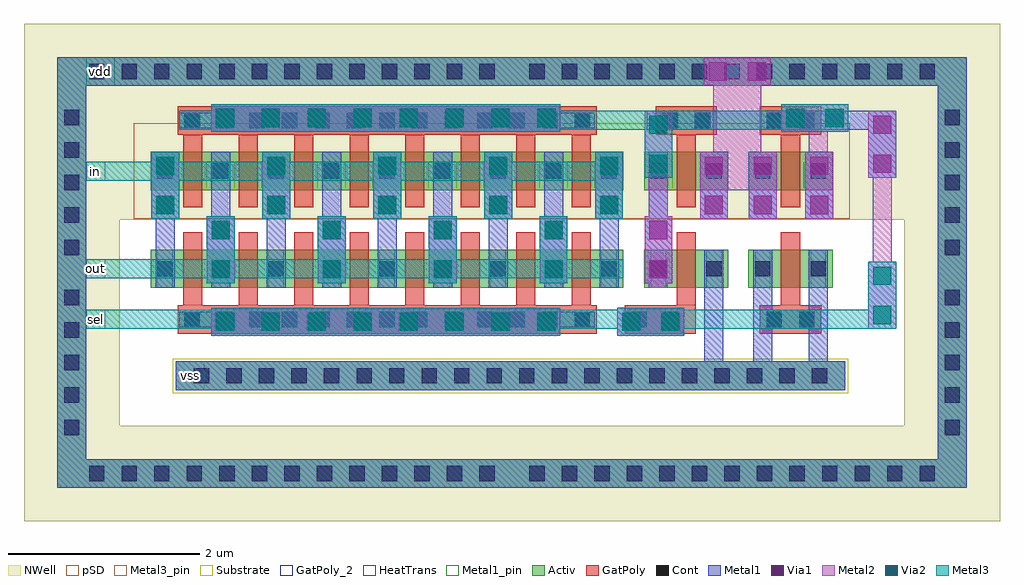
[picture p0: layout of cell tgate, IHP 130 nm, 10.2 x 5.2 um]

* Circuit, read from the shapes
.subckt tgate in out sel vdd vss
XM1 out sel in vss sg13_lv_nmos w=0.4u l=0.2u m=8
XM2 vss sel n1 vss sg13_lv_nmos w=0.4u l=0.2u
XM3 vss vss vss vss sg13_lv_nmos w=0.4u l=0.2u
XM4 out n1 in vdd sg13_lv_pmos w=0.4u l=0.2u m=8
XM5 vdd sel n1 vdd sg13_lv_pmos w=0.4u l=0.2u m=2
.ends

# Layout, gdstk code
from math import pi, radians
import gdstk
lib = gdstk.Library(unit=1e-6, precision=1e-09)
def R(c, l, rs):  # rectangles x0, y0, x1, y1
    for r in rs: c.add(gdstk.rectangle(r[:2], r[2:], *l))
def A(c, l, x, y, w, h, nx, ny, dx, dy):  # array of equal rectangles
    R(c, l, [(x+i*dx, y+j*dy, x+i*dx+w, y+j*dy+h) for i in range(nx) for j in range(ny)])
def P(c, l, *ps):  # polygons
    for p in ps: c.add(gdstk.Polygon(p, *l))
Activ = (1, 0)
GatPoly = (5, 0)
GatPoly_2 = (5, 2)
Cont = (6, 0)
Metal1 = (8, 0)
Metal1_pin = (8, 2)
Metal2 = (10, 0)
pSD = (14, 0)
Via1 = (19, 0)
Via2 = (29, 0)
Metal3 = (30, 0)
Metal3_pin = (30, 2)
NWell = (31, 0)
Substrate = (40, 0)
HeatTrans = (51, 0)

nmos = lib.new_cell('nmos')
R(nmos, Activ, [(0,0,0.3,0.3), (0,0,0.88,0.4), (0.58,0,0.88,0.3)])
R(nmos, GatPoly, [(0.34,-0.18,0.54,0.58)])
R(nmos, GatPoly_2, [(0.34,-0.18,0.54,0.58)])
R(nmos, Cont, [(0.07,0.12,0.23,0.28), (0.65,0.12,0.81,0.28)])
R(nmos, Metal1, [(0.07,0,0.23,0.4), (0.65,0,0.81,0.4)])
R(nmos, Metal1_pin, [(0.07,0,0.23,0.4), (0.65,0,0.81,0.4)])
R(nmos, HeatTrans, [(0.34,-0.18,0.54,0.58)])
nmos.add(gdstk.Label('nmos', (0.44,0.2), layer=63, texttype=0))
nmos.add(gdstk.Label('nmos', (0.44,0.2), layer=51, texttype=0))

pmos = lib.new_cell('pmos')
R(pmos, Activ, [(0,0,0.3,0.3), (0,0,0.88,0.4), (0.58,0,0.88,0.3)])
R(pmos, GatPoly, [(0.34,-0.18,0.54,0.58), (0.34,-0.18,0.54,0.58)])
R(pmos, Cont, [(0.07,0.12,0.23,0.28), (0.65,0.12,0.81,0.28)])
R(pmos, Metal1, [(0.07,0,0.23,0.4), (0.07,0,0.23,0.4), (0.65,0,0.81,0.4), (0.65,0,0.81,0.4)])
R(pmos, pSD, [(-0.18,-0.3,1.06,0.7)])
R(pmos, NWell, [(-0.31,-0.31,1.19,0.71)])
R(pmos, Substrate, [(0.58,0,0.88,0.3)])
R(pmos, HeatTrans, [(0.34,-0.18,0.54,0.58)])
pmos.add(gdstk.Label('pmos', (0.44,0.2), layer=63, texttype=0))
pmos.add(gdstk.Label('pmos', (0.44,0.2), layer=51, texttype=0))

viagpcont_m1 = lib.new_cell('ViaGPCont_M1')
R(viagpcont_m1, GatPoly, [(-2.19,-0.15,2.19,0.15)])
A(viagpcont_m1, Cont, -2.12, -0.08, 0.16, 0.16, 13, 1, 0.34, 0)
R(viagpcont_m1, Metal1, [(-2.17,-0.08,2.17,0.08)])

viagpcont_m1_2 = lib.new_cell('ViaGPCont_M1$2')
R(viagpcont_m1_2, GatPoly, [(-0.32,-0.15,0.32,0.15)])
R(viagpcont_m1_2, Cont, [(-0.25,-0.08,-0.09,0.08), (0.09,-0.08,0.25,0.08)])
R(viagpcont_m1_2, Metal1, [(-0.3,-0.08,0.3,0.08)])

via_stack = lib.new_cell('via_stack')
R(via_stack, Metal1, [(-0.145,-0.35,0.145,0.35)])
R(via_stack, Metal2, [(-0.145,-0.35,0.145,0.35)])
R(via_stack, Via1, [(-0.095,-0.3,0.095,-0.11), (-0.095,0.11,0.095,0.3)])
R(via_stack, Via2, [(-0.095,-0.3,0.095,-0.11), (-0.095,0.11,0.095,0.3)])
R(via_stack, Metal3, [(-0.145,-0.35,0.145,0.35)])

via_stack_1 = lib.new_cell('via_stack$1')
R(via_stack_1, Metal1, [(-0.145,-1.825,0.145,1.825)])
R(via_stack_1, Metal2, [(-0.145,-1.825,0.145,1.825)])
A(via_stack_1, Via1, -0.095, -1.775, 0.19, 0.19, 1, 8, 0, 0.48)
A(via_stack_1, Via2, -0.095, -1.775, 0.19, 0.19, 1, 8, 0, 0.48)
R(via_stack_1, Metal3, [(-0.145,-1.825,0.145,1.825)])

via_stack_2 = lib.new_cell('via_stack$2')
R(via_stack_2, Metal1, [(-0.145,-0.35,0.145,0.35)])
R(via_stack_2, Metal2, [(-0.145,-0.35,0.145,0.35)])
R(via_stack_2, Via1, [(-0.095,-0.3,0.095,-0.11), (-0.095,0.11,0.095,0.3)])

via_stack_3 = lib.new_cell('via_stack$3')
R(via_stack_3, Metal2, [(-0.145,-0.35,0.145,0.35)])
R(via_stack_3, Via2, [(-0.095,-0.3,0.095,-0.11), (-0.095,0.11,0.095,0.3)])
R(via_stack_3, Metal3, [(-0.145,-0.35,0.145,0.35)])

via_stack_4 = lib.new_cell('via_stack$4')
R(via_stack_4, Metal2, [(-0.35,-0.145,0.35,0.145)])
R(via_stack_4, Via2, [(-0.3,-0.095,-0.11,0.095), (0.11,-0.095,0.3,0.095)])
R(via_stack_4, Metal3, [(-0.35,-0.145,0.35,0.145)])

via_stack_7 = lib.new_cell('via_stack$7')
R(via_stack_7, Metal1, [(-0.35,-0.145,0.35,0.145)])
R(via_stack_7, Metal2, [(-0.35,-0.145,0.35,0.145)])
R(via_stack_7, Via1, [(-0.3,-0.095,-0.11,0.095), (0.11,-0.095,0.3,0.095)])
R(via_stack_7, Via2, [(-0.3,-0.095,-0.11,0.095), (0.11,-0.095,0.3,0.095)])
R(via_stack_7, Metal3, [(-0.35,-0.145,0.35,0.145)])

ptap = lib.new_cell('PTap')
R(ptap, Activ, [(-3.5,-0.15,3.5,0.15)])
A(ptap, Cont, -3.31, -0.08, 0.16, 0.16, 20, 1, 0.34, 0)
R(ptap, Metal1, [(-3.5,-0.15,3.5,0.15)])
R(ptap, pSD, [(-3.53,-0.18,3.53,0.18)])
R(ptap, Substrate, [(-3.53,-0.18,3.53,0.18)])

via_stack_6 = lib.new_cell('via_stack$6')
R(via_stack_6, Metal1, [(-0.35,-0.145,0.35,0.145)])
R(via_stack_6, Metal2, [(-0.35,-0.145,0.35,0.145)])
R(via_stack_6, Via1, [(-0.3,-0.095,-0.11,0.095), (0.11,-0.095,0.3,0.095)])

guardring_wonwellpsub = lib.new_cell('Guardring_wonwellpsub')
P(guardring_wonwellpsub, Activ, [(-4.75,-2.25),(-4.75,1.95),(-4.45,1.95),(-4.45,-1.95),(4.45,-1.95),(4.45,1.95),(-4.75,1.95),(-4.75,2.25),(4.75,2.25),(4.75,-2.25)])
A(guardring_wonwellpsub, Cont, -4.42, -2.18, 0.16, 0.16, 13, 2, 0.34, 4.2)
A(guardring_wonwellpsub, Cont, 0.18, -2.18, 0.16, 0.16, 13, 2, 0.34, 4.2)
A(guardring_wonwellpsub, Cont, -4.68, -1.7, 0.16, 0.16, 1, 5, 0, 0.34)
A(guardring_wonwellpsub, Cont, 4.52, -1.7, 0.16, 0.16, 1, 5, 0, 0.34)
A(guardring_wonwellpsub, Cont, -4.68, 0.18, 0.16, 0.16, 1, 5, 0, 0.34)
A(guardring_wonwellpsub, Cont, 4.52, 0.18, 0.16, 0.16, 1, 5, 0, 0.34)
P(guardring_wonwellpsub, Metal1, [(-4.75,-2.25),(-4.75,1.95),(-4.45,1.95),(-4.45,-1.95),(4.45,-1.95),(4.45,1.95),(-4.75,1.95),(-4.75,2.25),(4.75,2.25),(4.75,-2.25)])

tgate = lib.new_cell('tgate')
R(tgate, GatPoly, [(6.67,1.96,6.77,2.26)])
R(tgate, Metal1_pin, [(1.335,1.37,1.635,1.67), (0.4,4.55,0.7,4.85)])
R(tgate, Metal3_pin, [(0.4,2.01,0.6,2.21), (0.4,2.54,0.6,2.74), (0.4,3.56,0.6,3.76)])
R(tgate, NWell, [(-0.25,0,0.75,3.15), (0.75,0,8.95,1), (8.95,0,9.95,3.15), (-0.25,3.15,9.95,5.2)])
tgate.add(gdstk.FlexPath([(1.225,3.86),(1.225,2.44)], 0.2, ends="flush", simple_path=True, layer=8, datatype=0))  # Metal1
tgate.add(gdstk.FlexPath([(1.805,3.86),(1.805,2.44)], 0.2, ends="flush", simple_path=True, layer=8, datatype=0))  # Metal1
tgate.add(gdstk.FlexPath([(2.385,3.86),(2.385,2.44)], 0.2, ends="flush", simple_path=True, layer=8, datatype=0))  # Metal1
tgate.add(gdstk.FlexPath([(2.965,3.86),(2.965,2.44)], 0.2, ends="flush", simple_path=True, layer=8, datatype=0))  # Metal1
tgate.add(gdstk.FlexPath([(3.545,3.86),(3.545,2.44)], 0.2, ends="flush", simple_path=True, layer=8, datatype=0))  # Metal1
tgate.add(gdstk.FlexPath([(4.125,3.86),(4.125,2.44)], 0.2, ends="flush", simple_path=True, layer=8, datatype=0))  # Metal1
tgate.add(gdstk.FlexPath([(4.705,3.86),(4.705,2.44)], 0.2, ends="flush", simple_path=True, layer=8, datatype=0))  # Metal1
tgate.add(gdstk.FlexPath([(5.285,3.86),(5.285,2.44)], 0.2, ends="flush", simple_path=True, layer=8, datatype=0))  # Metal1
tgate.add(gdstk.FlexPath([(5.865,3.86),(5.865,2.44)], 0.2, ends="flush", simple_path=True, layer=8, datatype=0))  # Metal1
tgate.add(gdstk.FlexPath([(6.38,3.86),(6.38,2.44)], 0.2, ends="flush", simple_path=True, layer=8, datatype=0))  # Metal1
tgate.add(gdstk.FlexPath([(8.05,2.84),(8.05,1.37)], 0.2, ends="flush", simple_path=True, layer=8, datatype=0))  # Metal1
tgate.add(gdstk.FlexPath([(6.26,4.19),(8.82,4.19)], 0.2, ends="flush", simple_path=True, layer=8, datatype=0))  # Metal1
tgate.add(gdstk.FlexPath([(7.47,2.84),(7.47,1.37)], 0.2, ends="flush", simple_path=True, layer=8, datatype=0))  # Metal1
tgate.add(gdstk.FlexPath([(7.76,2.11),(8.135,2.11)], 0.2, ends="flush", simple_path=True, layer=8, datatype=0))  # Metal1
tgate.add(gdstk.FlexPath([(7.76,2.11),(7.37,2.11)], 0.2, ends="flush", simple_path=True, layer=8, datatype=0))  # Metal1
tgate.add(gdstk.FlexPath([(6.96,2.84),(6.96,1.37)], 0.2, ends="flush", simple_path=True, layer=8, datatype=0))  # Metal1
tgate.add(gdstk.FlexPath([(8.72,2.01),(8.72,4.29)], 0.2, ends="flush", simple_path=True, layer=10, datatype=0))  # Metal2
tgate.add(gdstk.FlexPath([(7.205,3.46),(7.205,4.845)], 0.5, ends="flush", simple_path=True, layer=10, datatype=0))  # Metal2
tgate.add(gdstk.FlexPath([(6.38,2.44),(6.38,4.29)], 0.2, ends="flush", simple_path=True, layer=10, datatype=0))  # Metal2
tgate.add(gdstk.FlexPath([(8.05,3.46),(8.05,4.29)], 0.2, ends="flush", simple_path=True, layer=10, datatype=0))  # Metal2
tgate.add(gdstk.FlexPath([(6.015,3.66),(0.4,3.66)], 0.2, ends="flush", simple_path=True, layer=30, datatype=0))  # Metal3
tgate.add(gdstk.FlexPath([(6.015,2.64),(0.4,2.64)], 0.2, ends="flush", simple_path=True, layer=30, datatype=0))  # Metal3
tgate.add(gdstk.FlexPath([(5.715,2.11),(0.4,2.11)], 0.2, ends="flush", simple_path=True, layer=30, datatype=0))  # Metal3
tgate.add(gdstk.FlexPath([(8.15,4.19),(1.375,4.19)], 0.2, ends="flush", simple_path=True, layer=30, datatype=0))  # Metal3
tgate.add(gdstk.FlexPath([(6,2.11),(8.82,2.11)], 0.2, ends="flush", simple_path=True, layer=30, datatype=0))  # Metal3
tgate.add(gdstk.FlexPath([(5.715,2.11),(6.015,2.11)], 0.2, ends="flush", simple_path=True, layer=30, datatype=0))  # Metal3
tgate.add(gdstk.Reference(nmos, (1.075,2.44)))
tgate.add(gdstk.Reference(nmos, (1.655,2.44)))
tgate.add(gdstk.Reference(nmos, (2.235,2.44)))
tgate.add(gdstk.Reference(nmos, (2.815,2.44)))
tgate.add(gdstk.Reference(nmos, (3.975,2.44)))
tgate.add(gdstk.Reference(nmos, (4.555,2.44)))
tgate.add(gdstk.Reference(nmos, (5.135,2.44)))
tgate.add(gdstk.Reference(pmos, (1.075,3.46)))
tgate.add(gdstk.Reference(pmos, (1.655,3.46)))
tgate.add(gdstk.Reference(pmos, (2.235,3.46)))
tgate.add(gdstk.Reference(pmos, (2.815,3.46)))
tgate.add(gdstk.Reference(pmos, (3.395,3.46)))
tgate.add(gdstk.Reference(pmos, (3.975,3.46)))
tgate.add(gdstk.Reference(pmos, (4.555,3.46)))
tgate.add(gdstk.Reference(pmos, (7.11,3.46), rotation=pi, x_reflection=True))
tgate.add(gdstk.Reference(pmos, (5.135,3.46)))
tgate.add(gdstk.Reference(pmos, (7.32,3.46)))
tgate.add(gdstk.Reference(nmos, (3.395,2.44)))
tgate.add(gdstk.Reference(nmos, (7.11,2.44), rotation=pi, x_reflection=True))
tgate.add(gdstk.Reference(nmos, (7.32,2.44)))
tgate.add(gdstk.Reference(viagpcont_m1, (3.545,4.19)))
tgate.add(gdstk.Reference(viagpcont_m1, (3.545,2.11)))
tgate.add(gdstk.Reference(viagpcont_m1_2, (6.67,4.19), rotation=pi, x_reflection=True))
tgate.add(gdstk.Reference(viagpcont_m1_2, (7.76,4.19)))
tgate.add(gdstk.Reference(via_stack, (1.225,3.51)))
tgate.add(gdstk.Reference(via_stack, (1.805,2.84)))
tgate.add(gdstk.Reference(via_stack, (2.385,3.51)))
tgate.add(gdstk.Reference(via_stack, (3.545,3.51)))
tgate.add(gdstk.Reference(via_stack, (4.705,3.51)))
tgate.add(gdstk.Reference(via_stack, (5.865,3.51)))
tgate.add(gdstk.Reference(via_stack, (2.965,2.84)))
tgate.add(gdstk.Reference(via_stack, (4.125,2.84)))
tgate.add(gdstk.Reference(via_stack, (5.285,2.84)))
tgate.add(gdstk.Reference(via_stack_1, (3.53,4.215), rotation=3*pi/2))
tgate.add(gdstk.Reference(via_stack_1, (3.53,2.085), rotation=3*pi/2))
tgate.add(gdstk.Reference(via_stack_2, (6.38,2.84), rotation=pi, x_reflection=True))
tgate.add(gdstk.Reference(via_stack_2, (8.06,3.51)))
tgate.add(gdstk.Reference(via_stack_3, (6.38,3.94), rotation=pi, x_reflection=True))
tgate.add(gdstk.Reference(via_stack_4, (8.015,4.215)))
tgate.add(gdstk.Reference(via_stack_2, (7.47,3.51)))
tgate.add(gdstk.Reference(viagpcont_m1_2, (7.76,2.11)))
tgate.add(gdstk.Reference(via_stack_2, (6.96,3.51), rotation=pi, x_reflection=True))
tgate.add(gdstk.Reference(via_stack_7, (6.3,2.085), rotation=pi, x_reflection=True))
tgate.add(gdstk.Reference(via_stack_2, (8.72,3.94)))
tgate.add(gdstk.Reference(viagpcont_m1_2, (6.35,2.11)))
tgate.add(gdstk.Reference(via_stack_3, (8.72,2.36)))
tgate.add(gdstk.Reference(ptap, (4.835,1.52)))
tgate.add(gdstk.Reference(via_stack_6, (7.205,4.7)))
tgate.add(gdstk.Reference(guardring_wonwellpsub, (4.85,2.6)))
tgate.add(gdstk.Label('sel', (0.5,2.11), layer=30, texttype=25))
tgate.add(gdstk.Label('out', (0.5,2.64), layer=30, texttype=25))
tgate.add(gdstk.Label('in', (0.5,3.66), layer=30, texttype=25))
tgate.add(gdstk.Label('vdd', (0.55,4.7), layer=8, texttype=25))
tgate.add(gdstk.Label('vss', (1.485,1.52), layer=8, texttype=25))

lib.write_gds('tgate.gds')
